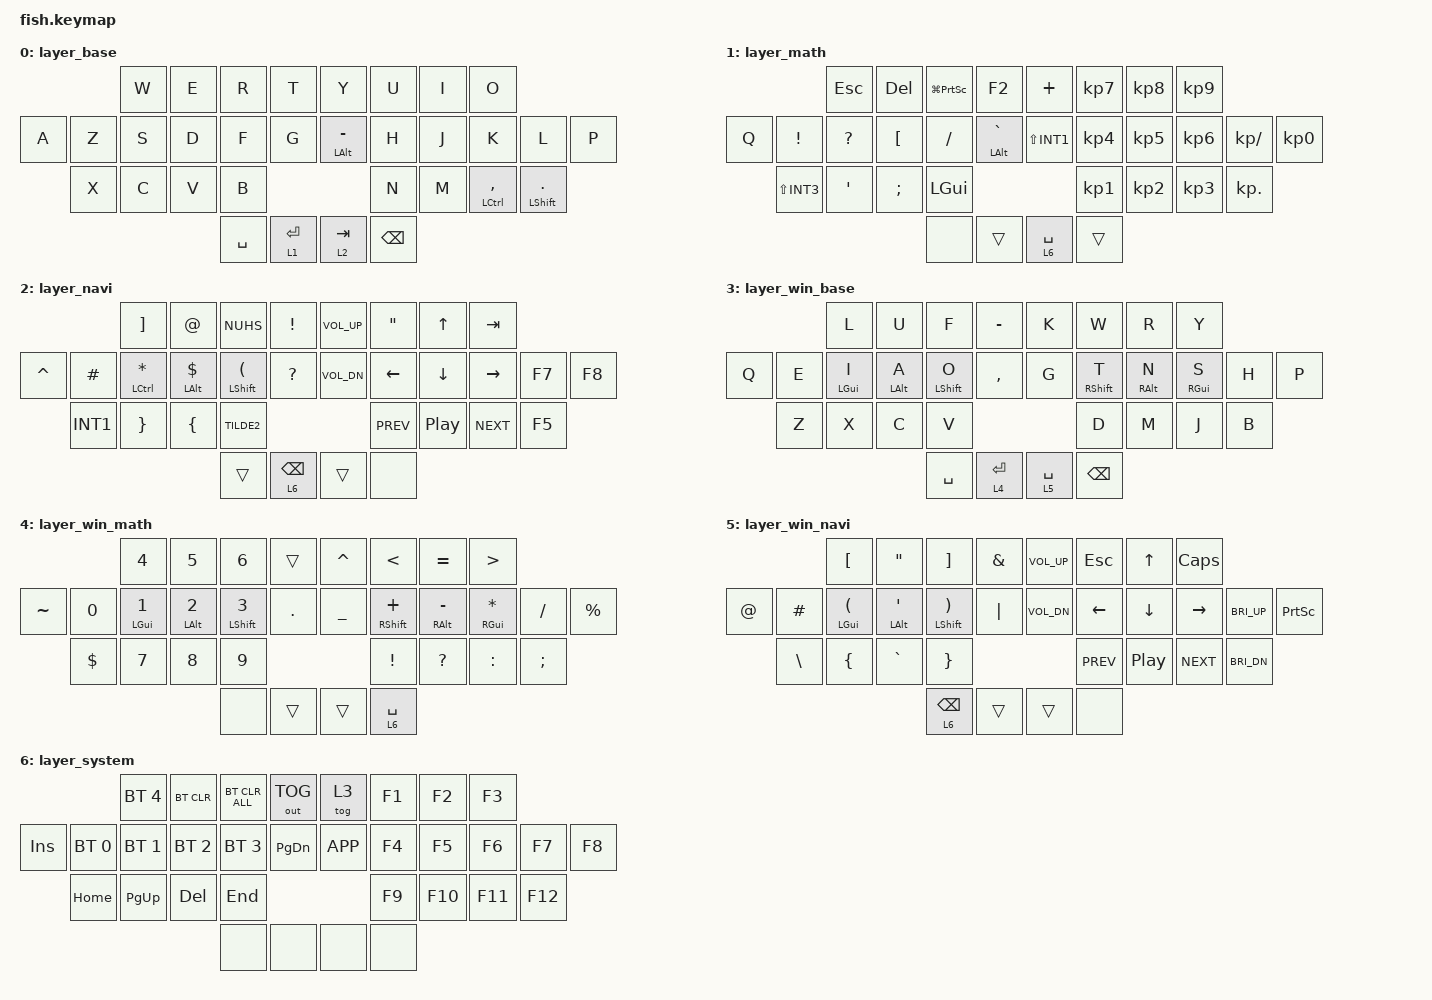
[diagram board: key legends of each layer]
// キーマップを更新する方法は https://o24.works/fish/guide を参照
// 視覚的に編集するには https://o24.works/fish/editor を参照


// 定義を呼んでくる
#include <behaviors.dtsi>
#include <dt-bindings/zmk/keys.h>
#include <dt-bindings/zmk/mouse.h>
#include <dt-bindings/zmk/bt.h>
#include <dt-bindings/zmk/outputs.h>


// 特殊入力の挙動を調整できる

&mt {
    flavor = "tap-preferred";
    tapping-term-ms = <250>;
    quick-tap-ms = <200>;
    require-prior-idle-ms = <150>;
};

&lt {
    flavor = "balanced";
    quick-tap-ms = <200>;
};

&sk {
};

&sl {
};

&caps_word {
};

&key_repeat {
};


/ {
    // 独自の入力を定義できる（上級者向け）

    behaviors {
    };

    macros {
    };

    conditional_layers {
    };


    // 複数キーの同時押しに特別の入力を設定できる
    // キー番号早見表：
    //       0  1  2  3     4  5  6  7
    // 8  9 10 11 12 13    14 15 16 17 18 19
    //   20 21 22 23          24 25 26 27
    //            28 29    30 31

    combos {
        compatible = "zmk,combos";
        timeout-ms = <150>;
        require-prior-idle-ms = <150>;

        combo_lang2 {
            key-positions = <21 22>;
            bindings = <&kp LANG2>;
        };

        combo_lang1 {
            key-positions = <25 26>;
            bindings = <&kp LANG1>;
        };
    };
    

    // キーに入力を割り当てる
    // 型（&...）は https://zmk.dev/docs/behaviors/... を参照
    // キーコードは https://zmk.dev/docs/codes/... を参照

    keymap {
        compatible = "zmk,keymap";

        layer_base {
            bindings = <
                        &kp W       &kp E       &kp R       &kp T               &kp Y       &kp U       &kp I       &kp O       
&kp A       &kp Z       &kp S       &kp D       &kp F       &kp G               &mt LALT MINUS &kp H    &kp J       &kp K       &kp L       &kp P       
            &kp X       &kp C       &kp V       &kp B                                       &kp N       &kp M       &mt LCTRL COMMA &mt LSHFT DOT 
                                                &kp SPACE   &lt 1 RET           &lt 2 TAB   &kp BSPC    
            >;
        };

        layer_math {
            bindings = <
                        &kp ESC     &kp DEL     &kp LG(PSCRN) &kp F2            &kp PLUS    &kp KP_N7   &kp KP_N8   &kp KP_N9   
&kp Q       &kp EXCL    &kp QMARK   &kp LBKT    &kp FSLH    &mt LALT GRAVE      &kp LS(INT1) &kp KP_N4  &kp KP_N5   &kp KP_N6   &kp KP_DIVIDE &kp KP_N0 
            &kp LS(INT3) &kp SQT    &kp SEMI    &kp LGUI                                    &kp KP_N1   &kp KP_N2   &kp KP_N3   &kp KP_DOT  
                                                &none       &trans              &lt 6 SPACE &trans      
            >;
        };

        layer_navi {
            bindings = <
                        &kp RBKT    &kp AT      &kp NUHS    &kp EXCL            &kp C_VOL_UP &kp DQT    &kp UP      &kp TAB     
&kp CARET   &kp HASH    &mt LCTRL STAR &mt LALT DLLR &mt LSHFT LPAR &kp QMARK   &kp C_VOL_DN &kp LEFT   &kp DOWN    &kp RIGHT   &kp F7      &kp F8      
            &kp INT1    &kp RBRC    &kp LBRC    &kp TILDE2                                  &kp C_PREV  &kp C_PP    &kp C_NEXT  &kp F5      
                                                &trans      &lt 6 BSPC          &trans      &none       
            >;
        };

        layer_win_base {
            bindings = <
                        &kp L       &kp U       &kp F       &kp MINUS           &kp K       &kp W       &kp R       &kp Y       
&kp Q       &kp E       &mt LGUI I  &mt LALT A  &mt LSHFT O &kp COMMA           &kp G       &mt RSHFT T &mt RALT N  &mt RGUI S  &kp H       &kp P       
            &kp Z       &kp X       &kp C       &kp V                                       &kp D       &kp M       &kp J       &kp B       
                                                &kp SPACE   &lt 4 RET           &lt 5 SPACE &kp BSPC    
            >;
        };

        layer_win_math {
            bindings = <
                        &kp N4      &kp N5      &kp N6      &trans              &kp CARET   &kp LT      &kp EQUAL   &kp GT      
&kp TILDE   &kp N0      &mt LGUI N1 &mt LALT N2 &mt LSHFT N3 &kp DOT            &kp UNDER   &mt RSHFT PLUS &mt RALT MINUS &mt RGUI STAR &kp FSLH &kp PRCNT 
            &kp DLLR    &kp N7      &kp N8      &kp N9                                      &kp EXCL    &kp QMARK   &kp COLON   &kp SEMI    
                                                &none       &trans              &trans      &lt 6 SPACE 
            >;
        };

        layer_win_navi {
            bindings = <
                        &kp LBKT    &kp DQT     &kp RBKT    &kp AMPS            &kp C_VOL_UP &kp ESC    &kp UP      &kp CAPS    
&kp AT      &kp HASH    &mt LGUI LPAR &mt LALT SQT &mt LSHFT RPAR &kp PIPE      &kp C_VOL_DN &kp LEFT   &kp DOWN    &kp RIGHT   &kp C_BRI_UP &kp PSCRN  
            &kp BSLH    &kp LBRC    &kp GRAVE   &kp RBRC                                    &kp C_PREV  &kp C_PP    &kp C_NEXT  &kp C_BRI_DN 
                                                &lt 6 BSPC  &trans              &trans      &none       
            >;
        };

        layer_system {
            bindings = <
                        &bt BT_SEL 4 &bt BT_CLR &bt BT_CLR_ALL &out OUT_TOG     &tog 3      &kp F1      &kp F2      &kp F3      
&kp INS     &bt BT_SEL 0 &bt BT_SEL 1 &bt BT_SEL 2 &bt BT_SEL 3 &kp PG_DN       &kp K_APP   &kp F4      &kp F5      &kp F6      &kp F7      &kp F8      
            &kp HOME    &kp PG_UP   &kp DEL     &kp END                                     &kp F9      &kp F10     &kp F11     &kp F12     
                                                &none       &none               &none       &none       
            >;
        };
    };
};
